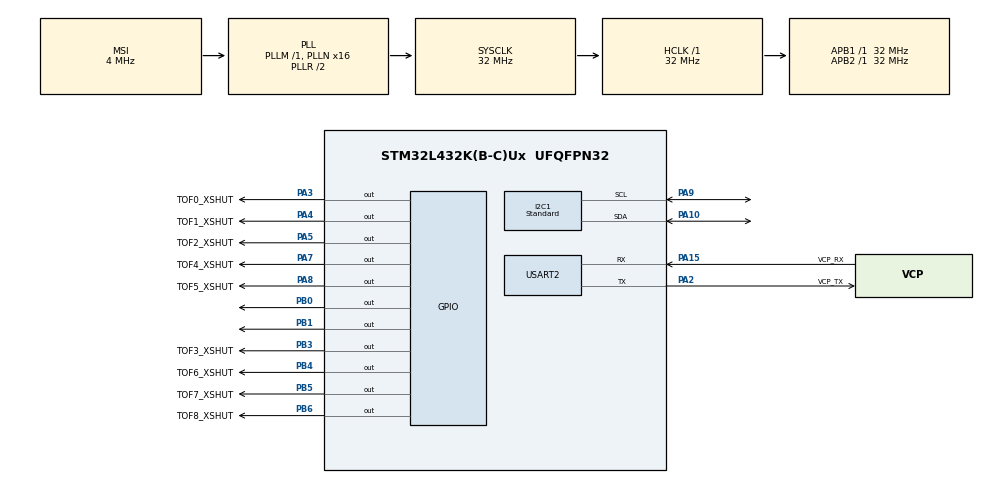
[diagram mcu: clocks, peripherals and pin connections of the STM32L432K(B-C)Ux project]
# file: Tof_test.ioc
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I2C1.I2C_Speed_Mode=I2C_Standard
I2C1.Speed=10
I2C1.Timing=0x6010C7FF
Mcu.Family=STM32L4
Mcu.Name=STM32L432K(B-C)Ux
Mcu.Package=UFQFPN32
NVIC.I2C1_ER_IRQn=true\:0\:0\:false\:false\:true\:true\:true\:true
NVIC.I2C1_EV_IRQn=true\:0\:0\:false\:false\:true\:true\:true\:true
NVIC.PriorityGroup=NVIC_PRIORITYGROUP_4
PA0.GPIO_Label=MCO [High speed clock in]
PA0.Mode=HSE-External-Clock-Source-for-LittleOrca
PA0.Signal=RCC_CK_IN
PA10.GPIO_Pu=GPIO_PULLUP
PA10.Mode=I2C
PA10.Signal=I2C1_SDA
PA13\ (JTMS-SWDIO).GPIO_Label=SWDIO
PA13\ (JTMS-SWDIO).Mode=Serial_Wire
PA13\ (JTMS-SWDIO).Signal=SYS_JTMS-SWDIO
PA14\ (JTCK-SWCLK).GPIO_Label=SWCLK
PA14\ (JTCK-SWCLK).Mode=Serial_Wire
PA14\ (JTCK-SWCLK).Signal=SYS_JTCK-SWCLK
PA15\ (JTDI).GPIO_Label=VCP_RX
PA15\ (JTDI).Mode=Asynchronous
PA15\ (JTDI).Signal=USART2_RX
PA2.GPIO_Label=VCP_TX
PA2.Mode=Asynchronous
PA2.Signal=USART2_TX
PA3.GPIO_Label=TOF0_XSHUT
PA3.Signal=GPIO_Output
PA4.GPIO_Label=TOF1_XSHUT
PA4.Signal=GPIO_Output
PA5.GPIO_Label=TOF2_XSHUT
PA5.Signal=GPIO_Output
PA7.GPIO_Label=TOF4_XSHUT
PA7.Signal=GPIO_Output
PA8.GPIO_Label=TOF5_XSHUT
PA8.Signal=GPIO_Output
PA9.GPIO_Pu=GPIO_PULLUP
PA9.Mode=I2C
PA9.Signal=I2C1_SCL
PB0.GPIO_PuPd=GPIO_PULLDOWN
PB0.Signal=GPIO_Output
PB1.GPIO_PuPd=GPIO_PULLDOWN
PB1.Signal=GPIO_Output
PB3\ (JTDO-TRACESWO).GPIO_Label=TOF3_XSHUT
PB3\ (JTDO-TRACESWO).Signal=GPIO_Output
PB4\ (NJTRST).GPIO_Label=TOF6_XSHUT
PB4\ (NJTRST).Signal=GPIO_Output
PB5.GPIO_Label=TOF7_XSHUT
PB5.Signal=GPIO_Output
PB6.GPIO_Label=TOF8_XSHUT
PB6.Signal=GPIO_Output
PC14-OSC32_IN\ (PC14).Mode=LSE-External-Oscillator
PC14-OSC32_IN\ (PC14).Signal=RCC_OSC32_IN
PC15-OSC32_OUT\ (PC15).Mode=LSE-External-Oscillator
PC15-OSC32_OUT\ (PC15).Signal=RCC_OSC32_OUT
ProjectManager.HeapSize=0x200
ProjectManager.StackSize=0x400
ProjectManager.TargetToolchain=STM32CubeIDE
RCC.AHBFreq_Value=32000000
RCC.APB1Freq_Value=32000000
RCC.APB1TimFreq_Value=32000000
RCC.APB2Freq_Value=32000000
RCC.APB2TimFreq_Value=32000000
RCC.CortexFreq_Value=32000000
RCC.HCLKFreq_Value=32000000
RCC.HSE_VALUE=8000000
RCC.HSI16_VALUE=16000000
RCC.HSI48_VALUE=48000000
RCC.HSI_VALUE=16000000
RCC.MSI_VALUE=4000000
RCC.PLLMUL=RCC_PLLMUL_4
RCC.PLLN=16
RCC.SYSCLKFreq_VALUE=32000000
RCC.SYSCLKSource=RCC_SYSCLKSOURCE_PLLCLK
RCC.VCOOutputFreq_Value=64000000
USART2.VirtualMode-Asynchronous=VM_ASYNC
board=NUCLEO-L432KC

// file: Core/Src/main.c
/* USER CODE BEGIN Header */
/**
  ******************************************************************************
  * @file           : main.c
  * @brief          : Main program body
  ******************************************************************************
  * @attention
  *
  * Copyright (c) 2022 STMicroelectronics.
  * All rights reserved.
  *
  * This software is licensed under terms that can be found in the LICENSE file
  * in the root directory of this software component.
  * If no LICENSE file comes with this software, it is provided AS-IS.
  *
  ******************************************************************************
  */
/* USER CODE END Header */
#include "main.h"

/* USER CODE BEGIN Includes */
#include <string.h>
#include <stdio.h>
#include "../../Drivers/VL53L0X/Platform/TOF.h"
/* USER CODE END Includes */

I2C_HandleTypeDef hi2c1;

UART_HandleTypeDef huart2;

void SystemClock_Config(void);
static void MX_GPIO_Init(void);
static void MX_USART2_UART_Init(void);
static void MX_I2C1_Init(void);

int main(void)
{
  /* USER CODE BEGIN 1 */
	TOF_Units_t montof_0 = TOF_UNIT_0;
	TOF_Units_t montof_1 = TOF_UNIT_1;
	TOF_Units_t montof_2 = TOF_UNIT_2;
	TOF_Units_t montof_3 = TOF_UNIT_3;
	TOF_Units_t montof_4 = TOF_UNIT_4;
	TOF_Units_t montof_5 = TOF_UNIT_5;
	TOF_Units_t montof_6 = TOF_UNIT_6;
	TOF_Units_t montof_7 = TOF_UNIT_7;
//	TOF_Units_t montof_8 = TOF_UNIT_8;
	uint16_t tentatives_max = 100;
	uint16_t range_milimeters;
	uint8_t range_status;
	uint8_t buf[40];
  /* USER CODE END 1 */

  /* MCU Configuration--------------------------------------------------------*/

  /* Reset of all peripherals, Initializes the Flash interface and the Systick. */
  HAL_Init();

  /* Configure the system clock */
  SystemClock_Config();

  /* Initialize all configured peripherals */
  MX_GPIO_Init();
  MX_USART2_UART_Init();
  MX_I2C1_Init();
  /* USER CODE BEGIN 2 */
  HAL_GPIO_WritePin(GPIOB, GPIO_PIN_1, 1);
  TOF_Status_t result_init = TOF_Init();
  if(result_init != TOF_STATUS_SUCESS){
	  sprintf((char*)buf, "Erreur lors de l'initialisation : %i\r\n", ((int8_t)result_init));

	  HAL_UART_Transmit(&huart2, buf, strlen((char*)buf), HAL_MAX_DELAY);
  }

  HAL_GPIO_WritePin(GPIOB, GPIO_PIN_1, 0);
  /* USER CODE END 2 */

  /* Infinite loop */
  /* USER CODE BEGIN WHILE */
  while (1)
  {
	HAL_Delay(100);
	TOF_Get_Range(montof_0, tentatives_max, &range_milimeters, &range_status);
	sprintf((char*)buf, "TOF n°0 | Value : %u mm | Status : %u\r\n", ((uint16_t)range_milimeters), ((uint8_t)range_status));

	HAL_UART_Transmit(&huart2, buf, strlen((char*)buf), HAL_MAX_DELAY);

	HAL_Delay(100);

	TOF_Get_Range(montof_1, tentatives_max, &range_milimeters, &range_status);
	sprintf((char*)buf, "TOF n°1 | Value : %u mm | Status : %u\r\n", ((uint16_t)range_milimeters), ((uint8_t)range_status));

	HAL_UART_Transmit(&huart2, buf, strlen((char*)buf), HAL_MAX_DELAY);

	HAL_Delay(100);

	TOF_Get_Range(montof_2, tentatives_max, &range_milimeters, &range_status);
	sprintf((char*)buf, "TOF n°2 | Value : %u mm | Status : %u\r\n", ((uint16_t)range_milimeters), ((uint8_t)range_status));

	HAL_UART_Transmit(&huart2, buf, strlen((char*)buf), HAL_MAX_DELAY);

	HAL_Delay(100);

	TOF_Get_Range(montof_3, tentatives_max, &range_milimeters, &range_status);
	sprintf((char*)buf, "TOF n°3 | Value : %u mm | Status : %u\r\n", ((uint16_t)range_milimeters), ((uint8_t)range_status));

	HAL_UART_Transmit(&huart2, buf, strlen((char*)buf), HAL_MAX_DELAY);

	HAL_Delay(100);

	TOF_Get_Range(montof_4, tentatives_max, &range_milimeters, &range_status);
	sprintf((char*)buf, "TOF n°4 | Value : %u mm | Status : %u\r\n", ((uint16_t)range_milimeters), ((uint8_t)range_status));

	HAL_UART_Transmit(&huart2, buf, strlen((char*)buf), HAL_MAX_DELAY);

	HAL_Delay(100);

	TOF_Get_Range(montof_5, tentatives_max, &range_milimeters, &range_status);
	sprintf((char*)buf, "TOF n°5 | Value : %u mm | Status : %u\r\n", ((uint16_t)range_milimeters), ((uint8_t)range_status));

	HAL_UART_Transmit(&huart2, buf, strlen((char*)buf), HAL_MAX_DELAY);

	HAL_Delay(100);

	TOF_Get_Range(montof_6, tentatives_max, &range_milimeters, &range_status);
	sprintf((char*)buf, "TOF n°6 | Value : %u mm | Status : %u\r\n", ((uint16_t)range_milimeters), ((uint8_t)range_status));

	HAL_UART_Transmit(&huart2, buf, strlen((char*)buf), HAL_MAX_DELAY);

	HAL_Delay(100);

	TOF_Get_Range(montof_7, tentatives_max, &range_milimeters, &range_status);
	sprintf((char*)buf, "TOF n°7 | Value : %u mm | Status : %u\r\n", ((uint16_t)range_milimeters), ((uint8_t)range_status));

	HAL_UART_Transmit(&huart2, buf, strlen((char*)buf), HAL_MAX_DELAY);

	HAL_Delay(100);
//
//	TOF_Get_Range(montof_8, tentatives_max, &range_milimeters, &range_status);
//	sprintf((char*)buf, "TOF n°8 | Value : %u mm | Status : %u\r\n", ((uint16_t)range_milimeters), ((uint8_t)range_status));
//
//	HAL_UART_Transmit(&huart2, buf, strlen((char*)buf), HAL_MAX_DELAY);
//
//	HAL_Delay(100);
    /* USER CODE END WHILE */

  }
}

void SystemClock_Config(void)
{
  RCC_OscInitTypeDef RCC_OscInitStruct = {0};
  RCC_ClkInitTypeDef RCC_ClkInitStruct = {0};

  /** Configure the main internal regulator output voltage
  */
  if (HAL_PWREx_ControlVoltageScaling(PWR_REGULATOR_VOLTAGE_SCALE1) != HAL_OK)
  {
    Error_Handler();
  }

  /** Configure LSE Drive Capability
  */
  HAL_PWR_EnableBkUpAccess();
  __HAL_RCC_LSEDRIVE_CONFIG(RCC_LSEDRIVE_LOW);

  /** Initializes the RCC Oscillators according to the specified parameters
  * in the RCC_OscInitTypeDef structure.
  */
  RCC_OscInitStruct.OscillatorType = RCC_OSCILLATORTYPE_LSE|RCC_OSCILLATORTYPE_MSI;
  RCC_OscInitStruct.LSEState = RCC_LSE_ON;
  RCC_OscInitStruct.MSIState = RCC_MSI_ON;
  RCC_OscInitStruct.MSICalibrationValue = 0;
  RCC_OscInitStruct.MSIClockRange = RCC_MSIRANGE_6;
  RCC_OscInitStruct.PLL.PLLState = RCC_PLL_ON;
  RCC_OscInitStruct.PLL.PLLSource = RCC_PLLSOURCE_MSI;
  RCC_OscInitStruct.PLL.PLLM = 1;
  RCC_OscInitStruct.PLL.PLLN = 16;
  RCC_OscInitStruct.PLL.PLLP = RCC_PLLP_DIV7;
  RCC_OscInitStruct.PLL.PLLQ = RCC_PLLQ_DIV2;
  RCC_OscInitStruct.PLL.PLLR = RCC_PLLR_DIV2;
  if (HAL_RCC_OscConfig(&RCC_OscInitStruct) != HAL_OK)
  {
    Error_Handler();
  }

  /** Initializes the CPU, AHB and APB buses clocks
  */
  RCC_ClkInitStruct.ClockType = RCC_CLOCKTYPE_HCLK|RCC_CLOCKTYPE_SYSCLK
                              |RCC_CLOCKTYPE_PCLK1|RCC_CLOCKTYPE_PCLK2;
  RCC_ClkInitStruct.SYSCLKSource = RCC_SYSCLKSOURCE_PLLCLK;
  RCC_ClkInitStruct.AHBCLKDivider = RCC_SYSCLK_DIV1;
  RCC_ClkInitStruct.APB1CLKDivider = RCC_HCLK_DIV1;
  RCC_ClkInitStruct.APB2CLKDivider = RCC_HCLK_DIV1;

  if (HAL_RCC_ClockConfig(&RCC_ClkInitStruct, FLASH_LATENCY_1) != HAL_OK)
  {
    Error_Handler();
  }

  /** Enable MSI Auto calibration
  */
  HAL_RCCEx_EnableMSIPLLMode();
}

static void MX_I2C1_Init(void)
{

  hi2c1.Instance = I2C1;
  hi2c1.Init.Timing = 0x6010C7FF;
  hi2c1.Init.OwnAddress1 = 0;
  hi2c1.Init.AddressingMode = I2C_ADDRESSINGMODE_7BIT;
  hi2c1.Init.DualAddressMode = I2C_DUALADDRESS_DISABLE;
  hi2c1.Init.OwnAddress2 = 0;
  hi2c1.Init.OwnAddress2Masks = I2C_OA2_NOMASK;
  hi2c1.Init.GeneralCallMode = I2C_GENERALCALL_DISABLE;
  hi2c1.Init.NoStretchMode = I2C_NOSTRETCH_DISABLE;
  if (HAL_I2C_Init(&hi2c1) != HAL_OK)
  {
    Error_Handler();
  }

  /** Configure Analogue filter
  */
  if (HAL_I2CEx_ConfigAnalogFilter(&hi2c1, I2C_ANALOGFILTER_ENABLE) != HAL_OK)
  {
    Error_Handler();
  }

  /** Configure Digital filter
  */
  if (HAL_I2CEx_ConfigDigitalFilter(&hi2c1, 0) != HAL_OK)
  {
    Error_Handler();
  }

}

static void MX_USART2_UART_Init(void)
{

  huart2.Instance = USART2;
  huart2.Init.BaudRate = 115200;
  huart2.Init.WordLength = UART_WORDLENGTH_8B;
  huart2.Init.StopBits = UART_STOPBITS_1;
  huart2.Init.Parity = UART_PARITY_NONE;
  huart2.Init.Mode = UART_MODE_TX_RX;
  huart2.Init.HwFlowCtl = UART_HWCONTROL_NONE;
  huart2.Init.OverSampling = UART_OVERSAMPLING_16;
  huart2.Init.OneBitSampling = UART_ONE_BIT_SAMPLE_DISABLE;
  huart2.AdvancedInit.AdvFeatureInit = UART_ADVFEATURE_NO_INIT;
  if (HAL_UART_Init(&huart2) != HAL_OK)
  {
    Error_Handler();
  }

}

static void MX_GPIO_Init(void)
{
  GPIO_InitTypeDef GPIO_InitStruct = {0};

  /* GPIO Ports Clock Enable */
  __HAL_RCC_GPIOC_CLK_ENABLE();
  __HAL_RCC_GPIOA_CLK_ENABLE();
  __HAL_RCC_GPIOB_CLK_ENABLE();

  /*Configure GPIO pin Output Level */
  HAL_GPIO_WritePin(GPIOA, TOF0_XSHUT_Pin|TOF1_XSHUT_Pin|TOF2_XSHUT_Pin|TOF4_XSHUT_Pin
                          |TOF5_XSHUT_Pin, GPIO_PIN_RESET);

  /*Configure GPIO pin Output Level */
  HAL_GPIO_WritePin(GPIOB, GPIO_PIN_0|GPIO_PIN_1|TOF3_XSHUT_Pin|TOF6_XSHUT_Pin
                          |TOF7_XSHUT_Pin|TOF8_XSHUT_Pin, GPIO_PIN_RESET);

  /*Configure GPIO pins : TOF0_XSHUT_Pin TOF1_XSHUT_Pin TOF2_XSHUT_Pin TOF4_XSHUT_Pin
                           TOF5_XSHUT_Pin */
  GPIO_InitStruct.Pin = TOF0_XSHUT_Pin|TOF1_XSHUT_Pin|TOF2_XSHUT_Pin|TOF4_XSHUT_Pin
                          |TOF5_XSHUT_Pin;
  GPIO_InitStruct.Mode = GPIO_MODE_OUTPUT_PP;
  GPIO_InitStruct.Pull = GPIO_NOPULL;
  GPIO_InitStruct.Speed = GPIO_SPEED_FREQ_LOW;
  HAL_GPIO_Init(GPIOA, &GPIO_InitStruct);

  /*Configure GPIO pins : PB0 PB1 */
  GPIO_InitStruct.Pin = GPIO_PIN_0|GPIO_PIN_1;
  GPIO_InitStruct.Mode = GPIO_MODE_OUTPUT_PP;
  GPIO_InitStruct.Pull = GPIO_PULLDOWN;
  GPIO_InitStruct.Speed = GPIO_SPEED_FREQ_LOW;
  HAL_GPIO_Init(GPIOB, &GPIO_InitStruct);

  /*Configure GPIO pins : TOF3_XSHUT_Pin TOF6_XSHUT_Pin TOF7_XSHUT_Pin TOF8_XSHUT_Pin */
  GPIO_InitStruct.Pin = TOF3_XSHUT_Pin|TOF6_XSHUT_Pin|TOF7_XSHUT_Pin|TOF8_XSHUT_Pin;
  GPIO_InitStruct.Mode = GPIO_MODE_OUTPUT_PP;
  GPIO_InitStruct.Pull = GPIO_NOPULL;
  GPIO_InitStruct.Speed = GPIO_SPEED_FREQ_LOW;
  HAL_GPIO_Init(GPIOB, &GPIO_InitStruct);

}

void Error_Handler(void)
{
  __disable_irq();
  while (1)
  {
  }
}
